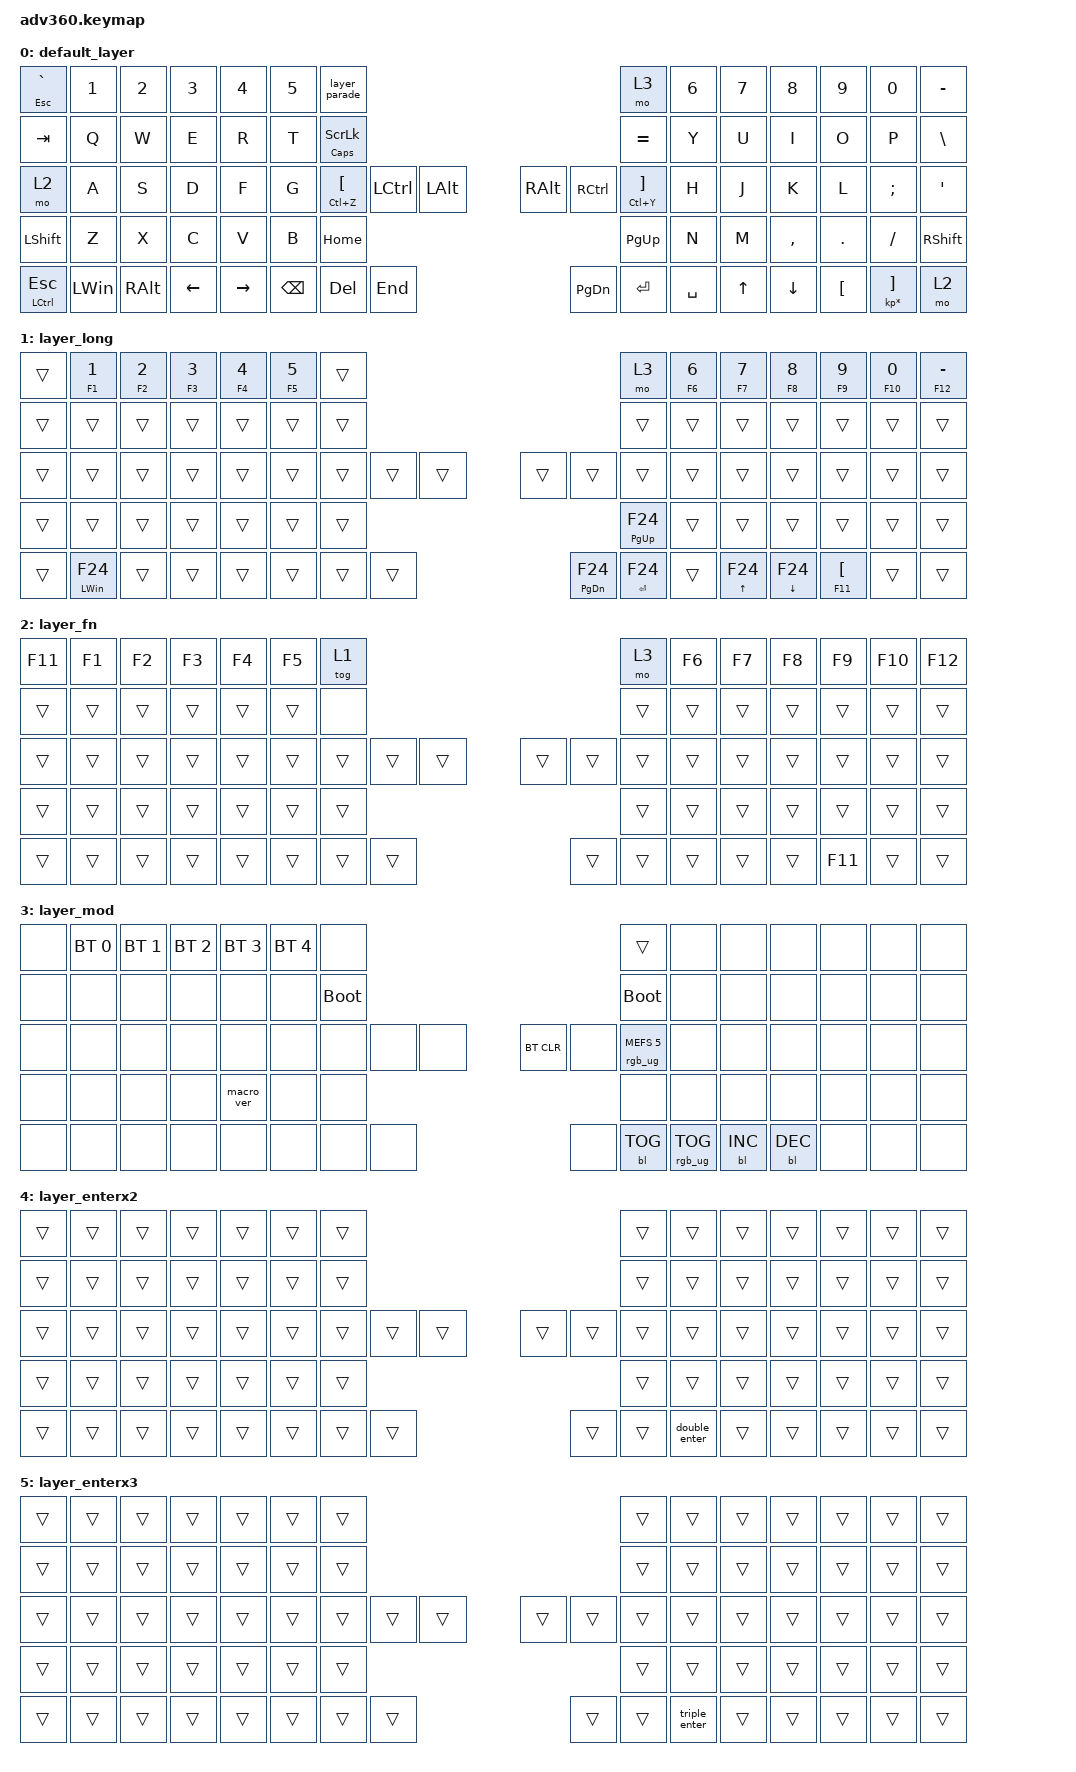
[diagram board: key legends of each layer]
/*
 * Copyright (c) 2020 The ZMK Contributors
 *
 * SPDX-License-Identifier: MIT
 */


/* THIS FILE WAS GENERATED!
 *
 * This file was generated automatically. You may or may not want to
 * edit it directly.
 */

#include <behaviors.dtsi>
#include <dt-bindings/zmk/keys.h>
#include <dt-bindings/zmk/bt.h>
#include <dt-bindings/zmk/rgb.h>
#include <dt-bindings/zmk/backlight.h>

/ {
  behaviors {
    #include "macros.dtsi"
    #include "version.dtsi"

    ht_tp: hold_tap__tap_preferred {
        compatible = "zmk,behavior-hold-tap";
        #binding-cells = <2>;
        tapping-term-ms = <200>;
        quick-tap-ms = <175>;
        flavor = "tap-preferred";
        bindings = <&kp>, <&kp>;
    };


    layer_parade: layer_parade {
        compatible = "zmk,behavior-tap-dance";
        #binding-cells = <0>;
        tapping-term-ms = <200>;
        bindings = <&to 0>, <&to 1>, <&to 4>, <&to 5>;
    };

    double_enter: double_enter {
        compatible = "zmk,behavior-tap-dance";
        #binding-cells = <0>;
        tapping-term-ms = <200>;
        bindings = <&none>, <&kp ENTER>;
    };

    triple_enter: triple_enter {
        compatible = "zmk,behavior-tap-dance";
        #binding-cells = <0>;
        tapping-term-ms = <200>;
        bindings = <&none>, <&none>, <&kp ENTER>;
    };

  };

    keymap {
        compatible = "zmk,keymap";


        default_layer {
            bindings = <
        &ht_tp ESC GRAVE        &kp N1         &kp N2    &kp N3     &kp N4  &kp N5                        &layer_parade                                                                                          &mo 3  &kp N6  &kp N7     &kp N8    &kp N9                            &kp N0  &kp MINUS
                 &kp TAB         &kp Q          &kp W     &kp E      &kp R   &kp T               &ht_tp CAPS SCROLLLOCK                                                                                      &kp EQUAL   &kp Y   &kp U      &kp I     &kp O                             &kp P   &kp BSLH
                   &mo 2         &kp A          &kp S     &kp D      &kp F   &kp G            &ht_tp LC(Z) LEFT_BRACKET  &kp LCTRL  &kp LEFT_ALT                  &kp RIGHT_ALT  &kp RCTRL  &ht_tp LC(Y) RIGHT_BRACKET   &kp H   &kp J      &kp K     &kp L                          &kp SEMI    &kp SQT
               &kp LSHFT         &kp Z          &kp X     &kp C      &kp V   &kp B                                                      &kp HOME                      &kp PG_UP                                          &kp N   &kp M  &kp COMMA   &kp DOT                          &kp FSLH  &kp RSHFT
 &ht_tp LEFT_CONTROL ESC  &kp LEFT_WIN  &kp RIGHT_ALT  &kp LEFT  &kp RIGHT                                &kp BACKSPACE    &kp DEL       &kp END                      &kp PG_DN  &kp ENTER                   &kp SPACE          &kp UP   &kp DOWN  &kp LBKT  &ht_tp KP_MULTIPLY RIGHT_BRACKET      &mo 2
            >;
        };

        layer_long {
            bindings = <
 &trans         &ht_tp F1 N1  &ht_tp F2 N2  &ht_tp F3 N3  &ht_tp F4 N4  &ht_tp F5 N5            &trans                                                                           &mo 3  &ht_tp F6 N6         &ht_tp F7 N7           &ht_tp F8 N8     &ht_tp F9 N9  &ht_tp F10 N0  &ht_tp F12 MINUS
 &trans               &trans        &trans        &trans        &trans        &trans            &trans                                                                          &trans        &trans               &trans                 &trans           &trans         &trans            &trans
 &trans               &trans        &trans        &trans        &trans        &trans            &trans  &trans  &trans                                &trans            &trans  &trans        &trans               &trans                 &trans           &trans         &trans            &trans
 &trans               &trans        &trans        &trans        &trans        &trans                            &trans                    &ht_tp PAGE_UP F24                                  &trans               &trans                 &trans           &trans         &trans            &trans
 &trans  &ht_tp LEFT_WIN F24        &trans        &trans        &trans                          &trans  &trans  &trans                  &ht_tp PAGE_DOWN F24  &ht_tp ENTER F24  &trans                &ht_tp UP_ARROW F24  &ht_tp DOWN_ARROW F24  &ht_tp F11 LBKT         &trans            &trans
            >;
        };

        layer_fn {
            bindings = <
 &kp F11  &kp F1  &kp F2  &kp F3  &kp F4  &kp F5            &tog 1                                                   &mo 3  &kp F6  &kp F7  &kp F8   &kp F9  &kp F10  &kp F12
  &trans  &trans  &trans  &trans  &trans  &trans             &none                                                  &trans  &trans  &trans  &trans   &trans   &trans   &trans
  &trans  &trans  &trans  &trans  &trans  &trans            &trans  &trans  &trans                  &trans  &trans  &trans  &trans  &trans  &trans   &trans   &trans   &trans
  &trans  &trans  &trans  &trans  &trans  &trans                            &trans                  &trans                  &trans  &trans  &trans   &trans   &trans   &trans
  &trans  &trans  &trans  &trans  &trans                    &trans  &trans  &trans                  &trans  &trans  &trans          &trans  &trans  &kp F11   &trans   &trans
            >;
        };

        layer_mod {
            bindings = <
  &none  &bt BT_SEL 0  &bt BT_SEL 1  &bt BT_SEL 2  &bt BT_SEL 3  &bt BT_SEL 4                  &none                                                                          &trans   &none       &none       &none   &none   &none   &none
  &none         &none         &none         &none         &none         &none            &bootloader                                                                     &bootloader   &none       &none       &none   &none   &none   &none
  &none         &none         &none         &none         &none         &none                  &none   &none   &none                  &bt BT_CLR       &none  &rgb_ug RGB_MEFS_CMD 5   &none       &none       &none   &none   &none   &none
  &none         &none         &none         &none    &macro_ver         &none                                  &none                       &none                                       &none       &none       &none   &none   &none   &none
  &none         &none         &none         &none         &none                                &none   &none   &none                       &none  &bl BL_TOG         &rgb_ug RGB_TOG          &bl BL_INC  &bl BL_DEC   &none   &none   &none
            >;
        };

        layer_enterx2 {
            bindings = <
 &trans  &trans  &trans  &trans  &trans  &trans            &trans                                                         &trans  &trans  &trans  &trans  &trans  &trans  &trans
 &trans  &trans  &trans  &trans  &trans  &trans            &trans                                                         &trans  &trans  &trans  &trans  &trans  &trans  &trans
 &trans  &trans  &trans  &trans  &trans  &trans            &trans  &trans  &trans                  &trans  &trans         &trans  &trans  &trans  &trans  &trans  &trans  &trans
 &trans  &trans  &trans  &trans  &trans  &trans                            &trans                  &trans                         &trans  &trans  &trans  &trans  &trans  &trans
 &trans  &trans  &trans  &trans  &trans                    &trans  &trans  &trans                  &trans  &trans  &double_enter          &trans  &trans  &trans  &trans  &trans
            >;
        };

        layer_enterx3 {
            bindings = <
 &trans  &trans  &trans  &trans  &trans  &trans            &trans                                                         &trans  &trans  &trans  &trans  &trans  &trans  &trans
 &trans  &trans  &trans  &trans  &trans  &trans            &trans                                                         &trans  &trans  &trans  &trans  &trans  &trans  &trans
 &trans  &trans  &trans  &trans  &trans  &trans            &trans  &trans  &trans                  &trans  &trans         &trans  &trans  &trans  &trans  &trans  &trans  &trans
 &trans  &trans  &trans  &trans  &trans  &trans                            &trans                  &trans                         &trans  &trans  &trans  &trans  &trans  &trans
 &trans  &trans  &trans  &trans  &trans                    &trans  &trans  &trans                  &trans  &trans  &triple_enter          &trans  &trans  &trans  &trans  &trans
            >;
        };

    };
};
